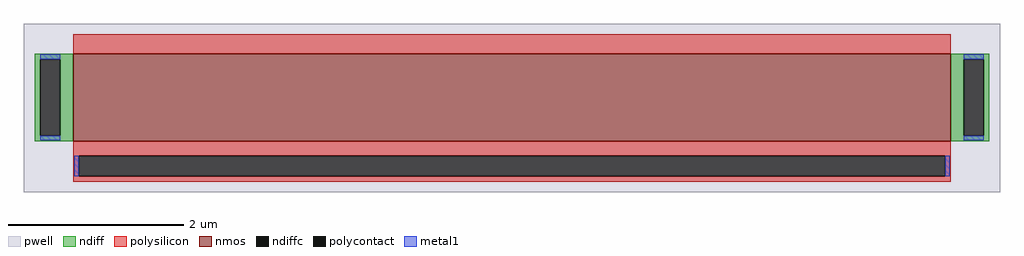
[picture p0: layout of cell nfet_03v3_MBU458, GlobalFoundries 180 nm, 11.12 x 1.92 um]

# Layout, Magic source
magic
tech gf180mcuD
magscale 1 10
<< pwell >>
rect -1112 -192 1112 192
<< nmos >>
rect -1000 -76 1000 124
<< ndiff >>
rect -1088 111 -1000 124
rect -1088 -63 -1075 111
rect -1029 -63 -1000 111
rect -1088 -76 -1000 -63
rect 1000 111 1088 124
rect 1000 -63 1029 111
rect 1075 -63 1088 111
rect 1000 -76 1088 -63
<< ndiffc >>
rect -1075 -63 -1029 111
rect 1029 -63 1075 111
<< polysilicon >>
rect -1000 124 1000 168
rect -1000 -109 1000 -76
rect -1000 -155 -987 -109
rect 987 -155 1000 -109
rect -1000 -168 1000 -155
<< polycontact >>
rect -987 -155 987 -109
<< metal1 >>
rect -1075 111 -1029 122
rect -1075 -74 -1029 -63
rect 1029 111 1075 122
rect 1029 -74 1075 -63
rect -998 -155 -987 -109
rect 987 -155 998 -109
<< properties >>
string gencell nfet_03v3
string library gf180mcu
string parameters w 1 l 10 m 1 nf 1 diffcov 100 polycov 100 guard 0 glc 0 grc 0 gtc 0 gbc 0 tbcov 100 rlcov 100 topc 0 botc 1 poverlap 0 doverlap 1 lmin 0.28 wmin 0.22 class mosfet full_metal 0 compatible {nfet_03v3 nfet_05v0 nfet_06v0 nfet_06v0_nvt}
<< end >>
